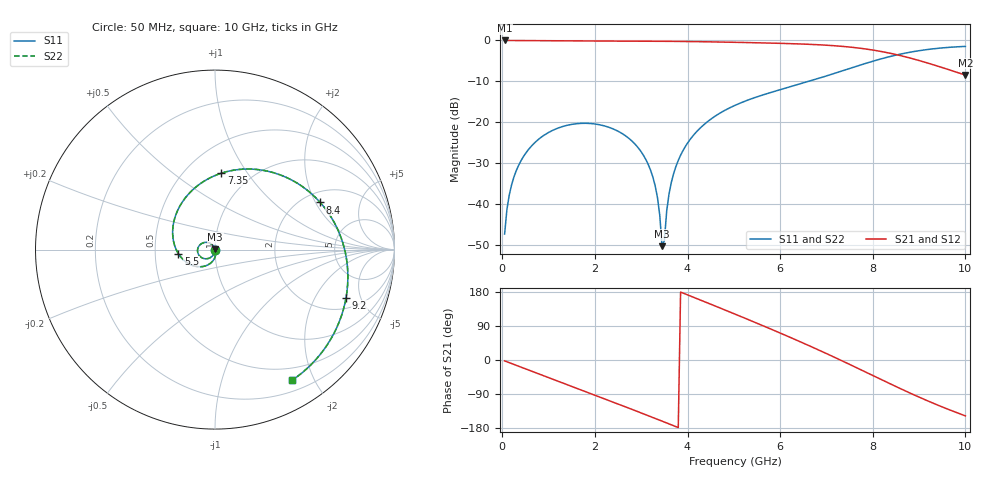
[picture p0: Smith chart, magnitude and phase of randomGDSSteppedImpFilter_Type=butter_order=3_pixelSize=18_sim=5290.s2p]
! freq	dB(S11)	phase(S11)	dB(S12)	phase(S12)
!  dB(S21)	phase(S21)	dB(S22)	phase(S22)
!S-par simulation data
#  GHz  S  DB  R 50
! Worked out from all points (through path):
!   200 points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, 50 MHz to 10 GHz, reference 50 ohm
!   highest |S21| = 0.00 dB at 50 MHz (marker M1); lowest = -8.5 dB at 10 GHz (marker M2)
!   group delay of S21, straight-line fit = 142 ps
!   lowest |S11| = -50.2 dB at 3.45 GHz (marker M3), VSWR 1.01, Z = 50.2 + j0.266 ohm
!   |S11| at or under -10 dB: start of sweep to 6.614 GHz
!   |S22| runs from -50.5 to -1.5 dB; largest |S21 - S12| = 0
!   S11 on the Smith chart (normalised r, x): 50 MHz: 1.00, -0.01; 5.5 GHz: 0.66, -0.03; 7.35 GHz: 0.74, +0.77; 8.4 GHz: 2.44, +2.19; 9.2 GHz: 2.73, -3.71; 10 GHz: 0.33, -1.70
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0.05  -47.26 -91.6  -0.00 -2.4  -0.00 -2.4  -47.26 -91.6
0.2  -35.27 -99.2  -0.02 -9.4  -0.02 -9.4  -35.27 -99.2
0.5  -27.61 -113.7  -0.04 -23.3  -0.04 -23.3  -27.61 -113.7
1.05  -22.15 -139.9  -0.08 -48.8  -0.08 -48.8  -22.15 -139.9
1.75  -20.22 -172.6  -0.13 -81.1  -0.13 -81.1  -20.22 -172.6
2.9  -25.72 132.3  -0.17 -135.0  -0.17 -135.0  -25.72 132.4
3.25  -33.29 112.4  -0.19 -151.7  -0.19 -151.7  -33.29 112.9
3.4  -42.61 94.3  -0.20 -158.9  -0.20 -158.9  -42.65 95.6
3.45  -50.20 59.0  -0.20 -161.3  -0.20 -161.3  -50.52 61.2
3.5  -48.82 -36.1  -0.20 -163.7  -0.20 -163.7  -49.10 -38.3
3.55  -41.64 -62.3  -0.21 -166.2  -0.21 -166.2  -41.69 -63.4
3.65  -34.64 -75.2  -0.22 -171.0  -0.22 -171.0  -34.66 -75.8
3.9  -26.91 -91.2  -0.25 176.8  -0.25 176.8  -26.92 -91.4
5.05  -15.71 -150.3  -0.46 119.9  -0.46 119.9  -15.71 -150.4
5.5  -13.76 -173.5  -0.56 97.1  -0.56 97.1  -13.76 -173.5
6.1  -11.69 154.9  -0.73 65.9  -0.73 65.9  -11.69 154.8
6.7  -9.71 122.1  -0.98 33.6  -0.98 33.6  -9.71 122.1
7.35  -7.39 85.3  -1.45 -2.9  -1.45 -2.9  -7.39 85.3
8.35  -3.99 27.0  -3.06 -61.3  -3.06 -61.3  -3.99 27.1
8.4  -3.85 24.1  -3.18 -64.2  -3.18 -64.2  -3.85 24.2
9.2  -2.18 -20.1  -5.56 -108.6  -5.56 -108.6  -2.18 -20.1
10  -1.46 -59.6  -8.45 -147.5  -8.45 -147.5  -1.46 -59.5
